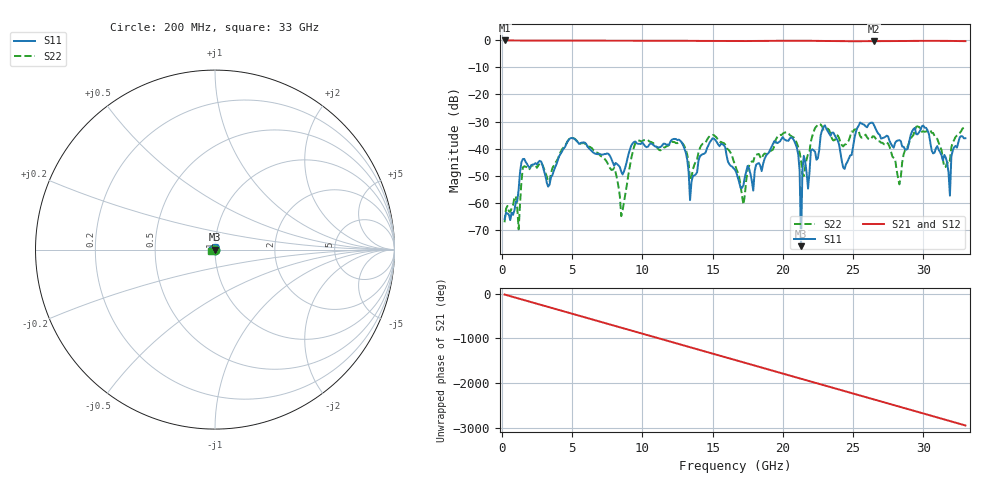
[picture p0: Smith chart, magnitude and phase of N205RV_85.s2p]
# GHZ S RI R 50
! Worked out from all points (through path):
!   329 points, 200 MHz to 33 GHz, reference 50 ohm
!   highest |S21| = -0.01 dB at 200 MHz (marker M1); lowest = -0.3 dB at 26.5 GHz (marker M2)
!   group delay of S21, straight-line fit = 248 ps
!   lowest |S11| = -76.1 dB at 21.3 GHz (marker M3), VSWR 1.00, Z = 50 + j0.00755 ohm
!   |S11| at or under -10 dB: start of sweep to end of sweep
!   |S22| runs from -69.9 to -30.9 dB; largest |S21 - S12| = 0.0019
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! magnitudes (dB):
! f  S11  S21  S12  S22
! 200 MHz  -66.1  0.0  0.0  -67.3
! 1.2 GHz  -55.1  0.0  0.0  -69.9
! 1.5 GHz  -43.9  0.0  0.0  -47.0
! 5.7 GHz  -37.8  -0.1  -0.1  -38.0
! 8.5 GHz  -48.5  -0.1  -0.1  -65.0
! 9.5 GHz  -37.4  -0.1  -0.1  -37.9
! 11.2 GHz  -39.6  -0.1  -0.1  -40.6
! 12.8 GHz  -37.7  -0.1  -0.1  -37.7
! 13.4 GHz  -59.1  -0.2  -0.2  -51.7
! 15 GHz  -36.2  -0.2  -0.2  -35.0
! 16.6 GHz  -47.8  -0.2  -0.2  -46.0
! 17.2 GHz  -53.6  -0.2  -0.2  -60.7
! 20.7 GHz  -36.2  -0.1  -0.1  -35.7
! 21.2 GHz  -48.1  -0.1  -0.1  -41.4
! 21.3 GHz  -76.1  -0.1  -0.1  -44.4
! 21.5 GHz  -42.7  -0.1  -0.1  -50.2
! 22.1 GHz  -40.3  -0.2  -0.2  -35.4
! 26.5 GHz  -31.4  -0.3  -0.3  -35.5
! 27.6 GHz  -37.2  -0.3  -0.3  -39.3
! 30.2 GHz  -32.3  -0.2  -0.2  -33.7
! 31.9 GHz  -57.4  -0.2  -0.2  -44.3
! 33 GHz  -36.2  -0.3  -0.3  -32.2
